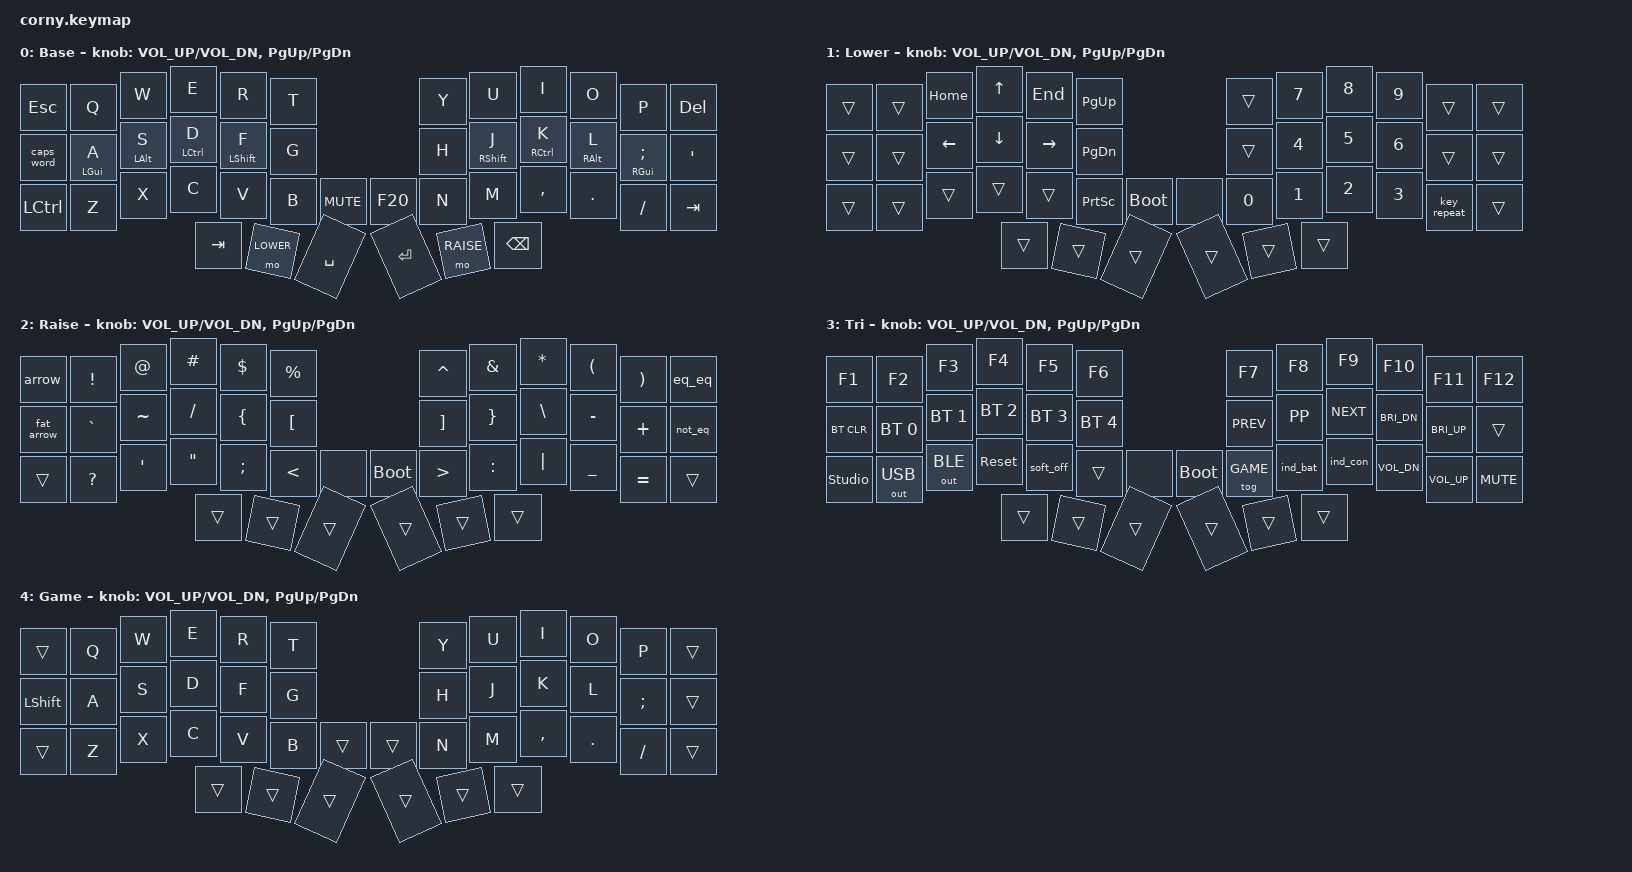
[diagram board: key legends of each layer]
#include <behaviors.dtsi>
#include <behaviors/rgbled_widget.dtsi>
#include <dt-bindings/zmk/keys.h>
#include <dt-bindings/zmk/outputs.h>
#include <dt-bindings/zmk/bt.h>

#define BASE 0
#define LOWER 1
#define RAISE 2
#define TRI 3
#define GAME 4

#define LEFT_HAND  0 1 2 3 4 5 12 13 14 15 16 17 24 25 26 27 28 29 30
#define RIGHT_HAND 6 7 8 9 10 11 18 19 20 21 22 23 31 32 33 34 35 36 37
#define THUMBS     38 39 40 41 42 43

/ {
    behaviors {
        // "timeless" homerow mods: a mod only triggers on a cross-hand
        // press, and is skipped entirely if another key was pressed within
        // require-prior-idle-ms, so tapping-term rarely decides anything.
        hml: homerow_mod_left {
            compatible = "zmk,behavior-hold-tap";
            #binding-cells = <2>;
            flavor = "balanced";
            tapping-term-ms = <280>;
            quick-tap-ms = <175>;
            require-prior-idle-ms = <200>;
            hold-trigger-key-positions = <RIGHT_HAND THUMBS>;
            hold-trigger-on-release; // needed to chord same-hand mods
            bindings = <&kp>, <&kp>;
            display-name = "Homerow Mod L";
        };

        hmr: homerow_mod_right {
            compatible = "zmk,behavior-hold-tap";
            #binding-cells = <2>;
            flavor = "balanced";
            tapping-term-ms = <280>;
            quick-tap-ms = <175>;
            require-prior-idle-ms = <200>;
            hold-trigger-key-positions = <LEFT_HAND THUMBS>;
            hold-trigger-on-release;
            bindings = <&kp>, <&kp>;
            display-name = "Homerow Mod R";
        };
    };

    macros {
        arrow: arrow {
            compatible = "zmk,behavior-macro";
            #binding-cells = <0>;
            bindings = <&kp MINUS &kp GT>;
            display-name = "->";
        };

        fat_arrow: fat_arrow {
            compatible = "zmk,behavior-macro";
            #binding-cells = <0>;
            bindings = <&kp EQUAL &kp GT>;
            display-name = "=>";
        };

        eq_eq: eq_eq {
            compatible = "zmk,behavior-macro";
            #binding-cells = <0>;
            bindings = <&kp EQUAL &kp EQUAL>;
            display-name = "==";
        };

        not_eq: not_eq {
            compatible = "zmk,behavior-macro";
            #binding-cells = <0>;
            bindings = <&kp EXCL &kp EQUAL>;
            display-name = "!=";
        };
    };

    combos {
        compatible = "zmk,combos";
        combo_exit_game_layer {
            // generous window: this chord spans both halves, so the
            // peripheral press has to travel over BLE first
            timeout-ms = <75>;
            layers = <GAME>; // only on game layer
            key-positions = <0 11>; // esc + del, top outer corners
            bindings = <&tog GAME>; // toggle game layer off
        };
    };

    conditional_layers {
        compatible = "zmk,conditional-layers";
        tri_layer {
            if-layers = <LOWER RAISE>;
            then-layer = <TRI>;
        };
    };

    keymap {
        compatible = "zmk,keymap";

        default_layer {
            display-name = "Base";
// -------------------------------------------------------------------------------------------------
// | ESC  |  Q  |  W  |  E  |  R  |  T  |                    |  Y  |  U  |  I  |  O  |  P  | DEL |
// | CAPSW|  A  |  S  |  D  |  F  |  G  |                    |  H  |  J  |  K  |  L  |  ;  |  '  |
// | CTRL |  Z  |  X  |  C  |  V  |  B  |  MUTE  |  F20  |   |  N  |  M  |  ,  |  .  |  /  | TAB |
//                    | TAB | LWR | SPC |                    | ENT | RSE | BSPC|
// homerow mods (hold):  GUI  ALT  CTL  SHF          SHF  CTL  ALT  GUI
            bindings = <
   &kp ESC    &kp Q       &kp W       &kp E        &kp R        &kp T                        &kp Y   &kp U        &kp I        &kp O       &kp P          &kp DEL
   &caps_word &hml LGUI A &hml LALT S &hml LCTRL D &hml LSHFT F &kp G                        &kp H   &hmr RSHFT J &hmr RCTRL K &hmr RALT L &hmr RGUI SEMI &kp APOS
   &kp LCTRL  &kp Z       &kp X       &kp C        &kp V        &kp B     &kp C_MUTE &kp F20 &kp N   &kp M        &kp COMMA    &kp DOT     &kp FSLH       &kp TAB
                                      &kp TAB      &mo LOWER    &kp SPACE                    &kp RET &mo RAISE    &kp BSPC
            >;

            sensor-bindings = <&inc_dec_kp C_VOL_UP C_VOL_DN &inc_dec_kp PG_UP PG_DN>;
        };

        lower_layer {
            display-name = "Lower";
// ------------------------------------------------------------------------------------------------
// |     |     | HOME | UP   | END  | PGUP |                    |     |  7  |  8  |  9  |     |     |
// |     |     | LEFT | DOWN | RGHT | PGDN |                    |     |  4  |  5  |  6  |     |     |
// |     |     |      |      |      | PSCR |  boot  |  |        |  0  |  1  |  2  |  3  | RPT |     |
//                    |      |      |      |                    |     |     |     |
            bindings = <
   &trans &trans &kp HOME &kp UP   &kp END   &kp PG_UP                   &trans &kp N7 &kp N8 &kp N9 &trans      &trans
   &trans &trans &kp LEFT &kp DOWN &kp RIGHT &kp PG_DN                   &trans &kp N4 &kp N5 &kp N6 &trans      &trans
   &trans &trans &trans   &trans   &trans    &kp PSCRN &bootloader &none &kp N0 &kp N1 &kp N2 &kp N3 &key_repeat &trans
                          &trans   &trans    &trans                      &trans &trans &trans
            >;

            sensor-bindings = <&inc_dec_kp C_VOL_UP C_VOL_DN &inc_dec_kp PG_UP PG_DN>;
        };

        raise_layer {
            display-name = "Raise";
// ------------------------------------------------------------------------------------------------
// |  ->  |  !  |  @  |  #  |  $  |  %  |                    |  ^  |  &  |  *  |  (  |  )  |  == |
// |  =>  |  `  |  ~  |  /  |  {  |  [  |                    |  ]  |  }  |  \  |  -  |  +  |  != |
// |      |  ?  |  '  |  "  |  ;  |  <  |        |  |  boot  |  >  |  :  | "|" |  _  |  =  |     |
//                    |     |     |     |                    |     |     |     |
            bindings = <
   &arrow     &kp EXCL  &kp AT    &kp HASH &kp DLLR &kp PRCNT                   &kp CARET &kp AMPS  &kp STAR &kp LPAR  &kp RPAR  &eq_eq
   &fat_arrow &kp GRAVE &kp TILDE &kp FSLH &kp LBRC &kp LBKT                    &kp RBKT  &kp RBRC  &kp BSLH &kp MINUS &kp PLUS  &not_eq
   &trans     &kp QMARK &kp SQT   &kp DQT  &kp SEMI &kp LT    &none &bootloader &kp GT    &kp COLON &kp PIPE &kp UNDER &kp EQUAL &trans
                                  &trans   &trans   &trans                      &trans    &trans    &trans
            >;

            sensor-bindings = <&inc_dec_kp C_VOL_UP C_VOL_DN &inc_dec_kp PG_UP PG_DN>;
        };

        tri_layer {
            display-name = "Tri";
// ------------------------------------------------------------------------------------------------
// | F1  | F2   | F3   | F4  | F5  | F6  |                    | F7   | F8   |  F9  | F10 | F11 |  F12 |
// |BTCLR| BT0  | BT1  | BT2 | BT3 | BT4 |                    | PREV | PLAY | NEXT | BR- | BR+ |      |
// |STUDO| OUSB | OBLE | RST | OFF |     |        |  |  boot  | GAME | BATT | CONN | VL- | VL+ | MUTE |
//                     |     |     |     |                    |      |      |      |
            bindings = <
   &kp F1         &kp F2       &kp F3       &kp F4       &kp F5       &kp F6                         &kp F7     &kp F8   &kp F9     &kp F10      &kp F11      &kp F12
   &bt BT_CLR     &bt BT_SEL 0 &bt BT_SEL 1 &bt BT_SEL 2 &bt BT_SEL 3 &bt BT_SEL 4                   &kp K_PREV &kp K_PP &kp K_NEXT &kp C_BRI_DN &kp C_BRI_UP &trans
   &studio_unlock &out OUT_USB &out OUT_BLE &sys_reset   &soft_off    &trans       &none &bootloader &tog GAME  &ind_bat &ind_con   &kp C_VOL_DN &kp C_VOL_UP &kp C_MUTE
                                            &trans       &trans       &trans                         &trans     &trans   &trans
            >;

            sensor-bindings = <&inc_dec_kp C_VOL_UP C_VOL_DN &inc_dec_kp PG_UP PG_DN>;
        };

        game_layer {
            display-name = "Game";
// same as base but without homerow mods, so nothing is hold-tap gated;
// exit by pressing ESC+DEL (the two top outer corners)
// ------------------------------------------------------------------------------------------------
// |      |  Q  |  W  |  E  |  R  |  T  |                    |  Y  |  U   |  I  |  O  |  P  |     |
// | SHF  |  A  |  S  |  D  |  F  |  G  |                    |  H  |  J   |  K  |  L  |  ;  |     |
// |      |  Z  |  X  |  C  |  V  |  B  |        |  |        |  N  |  M   |  ,  |  .  |  /  |     |
//                    |     |     |     |                    |     |      |     |
            bindings = <
   &trans    &kp Q &kp W &kp E  &kp R  &kp T                &kp Y  &kp U  &kp I     &kp O   &kp P    &trans
   &kp LSHFT &kp A &kp S &kp D  &kp F  &kp G                &kp H  &kp J  &kp K     &kp L   &kp SEMI &trans
   &trans    &kp Z &kp X &kp C  &kp V  &kp B  &trans &trans &kp N  &kp M  &kp COMMA &kp DOT &kp FSLH &trans
                         &trans &trans &trans               &trans &trans &trans
            >;

            sensor-bindings = <&inc_dec_kp C_VOL_UP C_VOL_DN &inc_dec_kp PG_UP PG_DN>;
        };
    };
};
